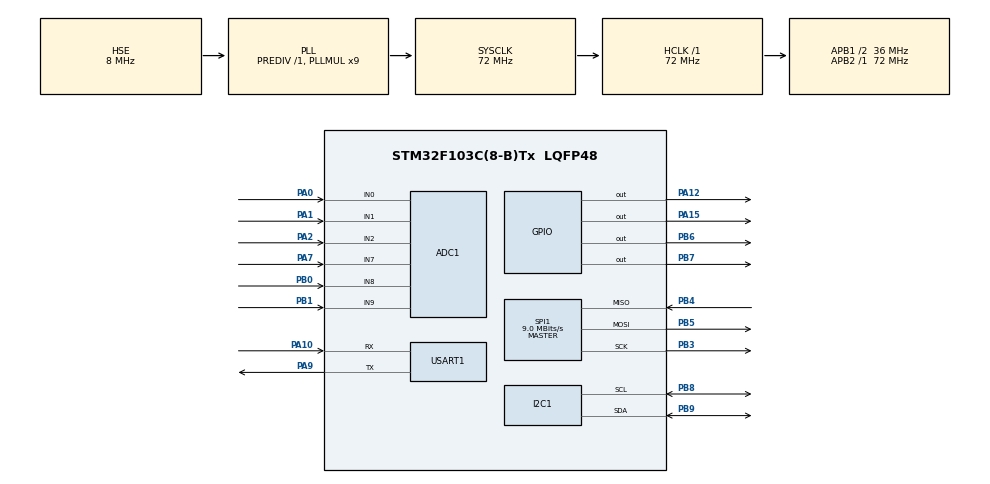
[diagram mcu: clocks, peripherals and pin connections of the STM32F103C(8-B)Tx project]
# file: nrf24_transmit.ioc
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ADC1.Channel-5\#ChannelRegularConversion=ADC_CHANNEL_0
ADC1.NbrOfConversionFlag=1
ADC1.Rank-5\#ChannelRegularConversion=1
ADC1.SamplingTime-5\#ChannelRegularConversion=ADC_SAMPLETIME_1CYCLE_5
ADC1.master=1
Mcu.Family=STM32F1
Mcu.Name=STM32F103C(8-B)Tx
Mcu.Package=LQFP48
NVIC.PriorityGroup=NVIC_PRIORITYGROUP_4
NVIC.USART1_IRQn=true\:1\:0\:true\:false\:true\:true\:true
PA0-WKUP.Signal=ADCx_IN0
PA1.Signal=ADCx_IN1
PA10.Mode=Asynchronous
PA10.Signal=USART1_RX
PA12.GPIO_Speed=GPIO_SPEED_FREQ_MEDIUM
PA12.Signal=GPIO_Output
PA13.Mode=Serial_Wire
PA13.Signal=SYS_JTMS-SWDIO
PA14.Mode=Serial_Wire
PA14.Signal=SYS_JTCK-SWCLK
PA15.GPIO_Speed=GPIO_SPEED_FREQ_MEDIUM
PA15.Signal=GPIO_Output
PA2.Signal=ADCx_IN2
PA7.Signal=ADCx_IN7
PA9.Mode=Asynchronous
PA9.Signal=USART1_TX
PB0.Signal=ADCx_IN8
PB1.Signal=ADCx_IN9
PB3.Mode=Full_Duplex_Master
PB3.Signal=SPI1_SCK
PB4.Mode=Full_Duplex_Master
PB4.Signal=SPI1_MISO
PB5.Mode=Full_Duplex_Master
PB5.Signal=SPI1_MOSI
PB6.GPIO_Speed=GPIO_SPEED_FREQ_MEDIUM
PB6.Signal=GPIO_Output
PB7.GPIO_Speed=GPIO_SPEED_FREQ_MEDIUM
PB7.Signal=GPIO_Output
PB8.Mode=I2C
PB8.Signal=I2C1_SCL
PB9.Mode=I2C
PB9.Signal=I2C1_SDA
PD0-OSC_IN.Mode=HSE-External-Oscillator
PD0-OSC_IN.Signal=RCC_OSC_IN
PD1-OSC_OUT.Mode=HSE-External-Oscillator
PD1-OSC_OUT.Signal=RCC_OSC_OUT
ProjectManager.HeapSize=0x200
ProjectManager.StackSize=0x400
ProjectManager.TargetToolchain=STM32CubeIDE
RCC.ADCPresc=RCC_ADCPCLK2_DIV6
RCC.AHBFreq_Value=72000000
RCC.APB1CLKDivider=RCC_HCLK_DIV2
RCC.APB1Freq_Value=36000000
RCC.APB1TimFreq_Value=72000000
RCC.APB2Freq_Value=72000000
RCC.APB2TimFreq_Value=72000000
RCC.HCLKFreq_Value=72000000
RCC.PLLMUL=RCC_PLL_MUL9
RCC.PLLSourceVirtual=RCC_PLLSOURCE_HSE
RCC.SYSCLKFreq_VALUE=72000000
RCC.SYSCLKSource=RCC_SYSCLKSOURCE_PLLCLK
RCC.USBFreq_Value=48000000
RCC.USBPrescaler=RCC_USBCLKSOURCE_PLL_DIV1_5
SH.ADCx_IN0.0=ADC1_IN0,IN0
SH.ADCx_IN1.0=ADC1_IN1,IN1
SH.ADCx_IN2.0=ADC1_IN2,IN2
SH.ADCx_IN7.0=ADC1_IN7,IN7
SH.ADCx_IN8.0=ADC1_IN8,IN8
SH.ADCx_IN9.0=ADC1_IN9,IN9
SPI1.BaudRatePrescaler=SPI_BAUDRATEPRESCALER_8
SPI1.CalculateBaudRate=9.0 MBits/s
SPI1.Direction=SPI_DIRECTION_2LINES
SPI1.Mode=SPI_MODE_MASTER
SPI1.VirtualType=VM_MASTER
USART1.VirtualMode=VM_ASYNC
board=custom

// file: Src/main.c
/* USER CODE BEGIN Header */
/**
  ******************************************************************************
  * @file           : main.c
  * @brief          : Main program body
  ******************************************************************************
  * @attention
  *
  * <h2><center>&copy; Copyright (c) 2019 STMicroelectronics.
  * All rights reserved.</center></h2>
  *
  * This software component is licensed by ST under BSD 3-Clause license,
  * the "License"; You may not use this file except in compliance with the
  * License. You may obtain a copy of the License at:
  *                        opensource.org/licenses/BSD-3-Clause
  *
  ******************************************************************************
  */
/* USER CODE END Header */

#include "main.h"

/* USER CODE BEGIN Includes */
#include "nrf24_hal.h"
#include "nrf24.h"
/* USER CODE END Includes */

ADC_HandleTypeDef hadc1;

I2C_HandleTypeDef hi2c1;

SPI_HandleTypeDef hspi1;

UART_HandleTypeDef huart1;

void SystemClock_Config(void);
static void MX_GPIO_Init(void);
static void MX_SPI1_Init(void);
static void MX_ADC1_Init(void);
static void MX_I2C1_Init(void);
static void MX_USART1_UART_Init(void);

/* USER CODE BEGIN 0 */
int i;
uint8_t Rx_data[2];
uint8_t Rx_buffer[6];
/* USER CODE END 0 */

int main(void)
{

  /* MCU Configuration--------------------------------------------------------*/

  /* Reset of all peripherals, Initializes the Flash interface and the Systick. */
  HAL_Init();

  /* Configure the system clock */
  SystemClock_Config();

  /* Initialize all configured peripherals */
  MX_GPIO_Init();
  MX_SPI1_Init();
  MX_ADC1_Init();
  MX_I2C1_Init();
  MX_USART1_UART_Init();
  /* USER CODE BEGIN 2 */
    uint8_t ADDR[] = { 'n', 'R', 'F', '2', '4' }; // the TX address
    nRF24_DisableAA(0xFF); // disable ShockBurst
    nRF24_SetRFChannel(24); // set RF channel to 2490MHz
    nRF24_SetDataRate(nRF24_DR_1Mbps); // 2Mbit/s data rate
    nRF24_SetCRCScheme(nRF24_CRC_1byte); // 1-byte CRC scheme
    nRF24_SetAddrWidth(5); // address width is 5 bytes
    nRF24_SetAutoRetr(nRF24_ARD_750us, 0x02);
    nRF24_SetTXPower(nRF24_TXPWR_0dBm); // configure TX power
    nRF24_SetAddr(nRF24_PIPETX, ADDR); // program TX address
    nRF24_SetOperationalMode(nRF24_MODE_TX); // switch transceiver to the TX mode
    nRF24_SetPowerMode(nRF24_PWR_UP); // wake-up transceiver (in case if it sleeping)
    char pBuf[1000] = "abcd";
    HAL_UART_Receive_IT(&huart1, &Rx_data, 1);
  /* USER CODE END 2 */

  /* Infinite loop */
    while (1)
    {

    /* USER CODE BEGIN 3 */

//      CDC_Receive_FS((uint8_t*) Buf, 1);
  	  uint8_t status;
  	  nRF24_WritePayload(Rx_buffer, 6); // transfer payload data to transceiver
  	  nRF24_CE_H; // assert CE pin (transmission starts)
  	  status = nRF24_GetStatus();
  	  while (status & (nRF24_FLAG_TX_DS | nRF24_FLAG_MAX_RT)) {
  	          // transmission ended, exit loop
  	          break;
  	  }

  	  nRF24_CE_L; // de-assert CE pin (nRF24 goes to StandBy-I mode)
  	  nRF24_ClearIRQFlags(); // clear any pending IRQ flags
  	if (status & nRF24_FLAG_MAX_RT) {
  	    // Auto retransmit counter exceeds the programmed maximum limit (payload in FIFO is not removed)
  	    // Also the software can flush the TX FIFO here...
//  	    return TX_MAXRT_ERROR;
  	}
  	if (status & nRF24_FLAG_TX_DS) {
  	    // Successful transmission
//  	    return TX_SUCCESS;
  	}
//  	  HAL_Delay(100);
    }
  /* USER CODE END 3 */
}

void SystemClock_Config(void)
{
  RCC_OscInitTypeDef RCC_OscInitStruct = {0};
  RCC_ClkInitTypeDef RCC_ClkInitStruct = {0};
  RCC_PeriphCLKInitTypeDef PeriphClkInit = {0};

  /** Initializes the CPU, AHB and APB busses clocks
  */
  RCC_OscInitStruct.OscillatorType = RCC_OSCILLATORTYPE_HSE;
  RCC_OscInitStruct.HSEState = RCC_HSE_ON;
  RCC_OscInitStruct.HSEPredivValue = RCC_HSE_PREDIV_DIV1;
  RCC_OscInitStruct.HSIState = RCC_HSI_ON;
  RCC_OscInitStruct.PLL.PLLState = RCC_PLL_ON;
  RCC_OscInitStruct.PLL.PLLSource = RCC_PLLSOURCE_HSE;
  RCC_OscInitStruct.PLL.PLLMUL = RCC_PLL_MUL9;
  if (HAL_RCC_OscConfig(&RCC_OscInitStruct) != HAL_OK)
  {
    Error_Handler();
  }
  /** Initializes the CPU, AHB and APB busses clocks
  */
  RCC_ClkInitStruct.ClockType = RCC_CLOCKTYPE_HCLK|RCC_CLOCKTYPE_SYSCLK
                              |RCC_CLOCKTYPE_PCLK1|RCC_CLOCKTYPE_PCLK2;
  RCC_ClkInitStruct.SYSCLKSource = RCC_SYSCLKSOURCE_PLLCLK;
  RCC_ClkInitStruct.AHBCLKDivider = RCC_SYSCLK_DIV1;
  RCC_ClkInitStruct.APB1CLKDivider = RCC_HCLK_DIV2;
  RCC_ClkInitStruct.APB2CLKDivider = RCC_HCLK_DIV1;

  if (HAL_RCC_ClockConfig(&RCC_ClkInitStruct, FLASH_LATENCY_2) != HAL_OK)
  {
    Error_Handler();
  }
  PeriphClkInit.PeriphClockSelection = RCC_PERIPHCLK_ADC;
  PeriphClkInit.AdcClockSelection = RCC_ADCPCLK2_DIV6;
  if (HAL_RCCEx_PeriphCLKConfig(&PeriphClkInit) != HAL_OK)
  {
    Error_Handler();
  }
}

static void MX_ADC1_Init(void)
{

  ADC_ChannelConfTypeDef sConfig = {0};

  /** Common config
  */
  hadc1.Instance = ADC1;
  hadc1.Init.ScanConvMode = ADC_SCAN_DISABLE;
  hadc1.Init.ContinuousConvMode = DISABLE;
  hadc1.Init.DiscontinuousConvMode = DISABLE;
  hadc1.Init.ExternalTrigConv = ADC_SOFTWARE_START;
  hadc1.Init.DataAlign = ADC_DATAALIGN_RIGHT;
  hadc1.Init.NbrOfConversion = 1;
  if (HAL_ADC_Init(&hadc1) != HAL_OK)
  {
    Error_Handler();
  }
  /** Configure Regular Channel
  */
  sConfig.Channel = ADC_CHANNEL_0;
  sConfig.Rank = ADC_REGULAR_RANK_1;
  sConfig.SamplingTime = ADC_SAMPLETIME_1CYCLE_5;
  if (HAL_ADC_ConfigChannel(&hadc1, &sConfig) != HAL_OK)
  {
    Error_Handler();
  }

}

static void MX_I2C1_Init(void)
{

  hi2c1.Instance = I2C1;
  hi2c1.Init.ClockSpeed = 100000;
  hi2c1.Init.DutyCycle = I2C_DUTYCYCLE_2;
  hi2c1.Init.OwnAddress1 = 0;
  hi2c1.Init.AddressingMode = I2C_ADDRESSINGMODE_7BIT;
  hi2c1.Init.DualAddressMode = I2C_DUALADDRESS_DISABLE;
  hi2c1.Init.OwnAddress2 = 0;
  hi2c1.Init.GeneralCallMode = I2C_GENERALCALL_DISABLE;
  hi2c1.Init.NoStretchMode = I2C_NOSTRETCH_DISABLE;
  if (HAL_I2C_Init(&hi2c1) != HAL_OK)
  {
    Error_Handler();
  }

}

static void MX_SPI1_Init(void)
{

  /* SPI1 parameter configuration*/
  hspi1.Instance = SPI1;
  hspi1.Init.Mode = SPI_MODE_MASTER;
  hspi1.Init.Direction = SPI_DIRECTION_2LINES;
  hspi1.Init.DataSize = SPI_DATASIZE_8BIT;
  hspi1.Init.CLKPolarity = SPI_POLARITY_LOW;
  hspi1.Init.CLKPhase = SPI_PHASE_1EDGE;
  hspi1.Init.NSS = SPI_NSS_SOFT;
  hspi1.Init.BaudRatePrescaler = SPI_BAUDRATEPRESCALER_8;
  hspi1.Init.FirstBit = SPI_FIRSTBIT_MSB;
  hspi1.Init.TIMode = SPI_TIMODE_DISABLE;
  hspi1.Init.CRCCalculation = SPI_CRCCALCULATION_DISABLE;
  hspi1.Init.CRCPolynomial = 10;
  if (HAL_SPI_Init(&hspi1) != HAL_OK)
  {
    Error_Handler();
  }

}

static void MX_USART1_UART_Init(void)
{

  huart1.Instance = USART1;
  huart1.Init.BaudRate = 115200;
  huart1.Init.WordLength = UART_WORDLENGTH_8B;
  huart1.Init.StopBits = UART_STOPBITS_1;
  huart1.Init.Parity = UART_PARITY_NONE;
  huart1.Init.Mode = UART_MODE_TX_RX;
  huart1.Init.HwFlowCtl = UART_HWCONTROL_NONE;
  huart1.Init.OverSampling = UART_OVERSAMPLING_16;
  if (HAL_UART_Init(&huart1) != HAL_OK)
  {
    Error_Handler();
  }

}

static void MX_GPIO_Init(void)
{
  GPIO_InitTypeDef GPIO_InitStruct = {0};

  /* GPIO Ports Clock Enable */
  __HAL_RCC_GPIOD_CLK_ENABLE();
  __HAL_RCC_GPIOA_CLK_ENABLE();
  __HAL_RCC_GPIOB_CLK_ENABLE();

  /*Configure GPIO pin Output Level */
  HAL_GPIO_WritePin(GPIOA, GPIO_PIN_12|GPIO_PIN_15, GPIO_PIN_RESET);

  /*Configure GPIO pin Output Level */
  HAL_GPIO_WritePin(GPIOB, GPIO_PIN_6|GPIO_PIN_7, GPIO_PIN_RESET);

  /*Configure GPIO pins : PA12 PA15 */
  GPIO_InitStruct.Pin = GPIO_PIN_12|GPIO_PIN_15;
  GPIO_InitStruct.Mode = GPIO_MODE_OUTPUT_PP;
  GPIO_InitStruct.Pull = GPIO_NOPULL;
  GPIO_InitStruct.Speed = GPIO_SPEED_FREQ_MEDIUM;
  HAL_GPIO_Init(GPIOA, &GPIO_InitStruct);

  /*Configure GPIO pins : PB6 PB7 */
  GPIO_InitStruct.Pin = GPIO_PIN_6|GPIO_PIN_7;
  GPIO_InitStruct.Mode = GPIO_MODE_OUTPUT_PP;
  GPIO_InitStruct.Pull = GPIO_NOPULL;
  GPIO_InitStruct.Speed = GPIO_SPEED_FREQ_MEDIUM;
  HAL_GPIO_Init(GPIOB, &GPIO_InitStruct);

}

/* USER CODE BEGIN 4 */
void HAL_UART_RxCpltCallback(UART_HandleTypeDef *huart)
{
	HAL_GPIO_TogglePin(GPIOB, GPIO_PIN_12);
	if (huart->Instance == USART1)  //current UART
	{
		if(Rx_data[0] == 's'){
			i = 0;
             for(int count =0; count< 6; count++)
            	 Rx_buffer[count] = 0x00;
		}
		else{
			if(Rx_data[0] != 'e'){
			 Rx_buffer[i] = Rx_data[0];
			 i++;
//			 HAL_UART_Receive_IT(&huart1, (uint8_t *) Rx_data, 1);

			}
			else{
				sbus_decode(Rx_buffer);
                Rx_data[0] = 0;
//				HAL_UART_Receive_IT(&huart1, (uint8_t *) Rx_data, 1);
			}
		}
	}
	 HAL_UART_Receive_IT(&huart1, (uint8_t *) Rx_data, 1);
}
/* USER CODE END 4 */

void Error_Handler(void)
{
}

/************************ (C) COPYRIGHT STMicroelectronics *****END OF FILE****/
